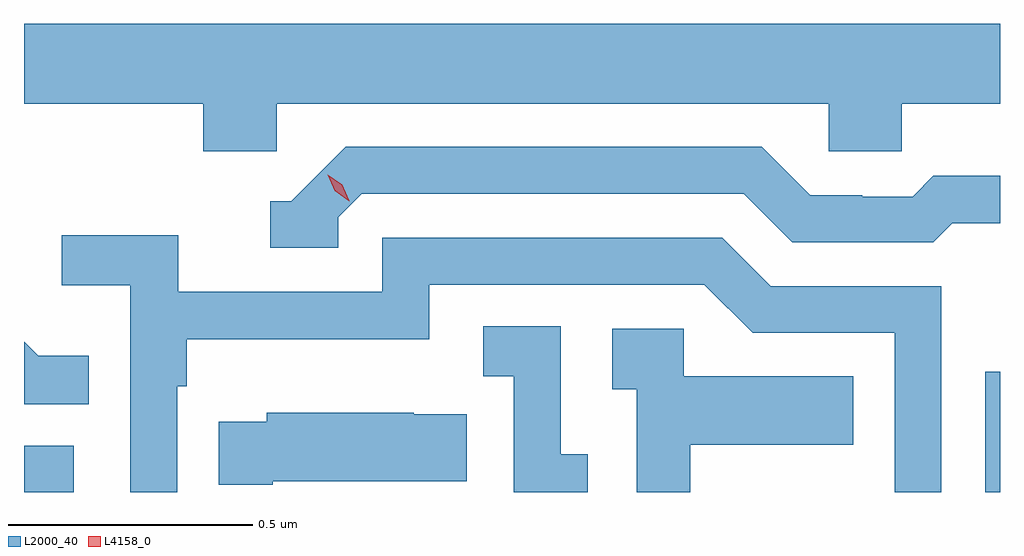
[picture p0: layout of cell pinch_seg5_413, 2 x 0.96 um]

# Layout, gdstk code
import gdstk
lib = gdstk.Library(unit=1e-6, precision=1e-09)
def R(c, l, rs):  # rectangles x0, y0, x1, y1
    for r in rs: c.add(gdstk.rectangle(r[:2], r[2:], *l))
def P(c, l, *ps):  # polygons
    for p in ps: c.add(gdstk.Polygon(p, *l))
L2000_40 = (2000, 40)
L4158_0 = (4158, 0)

pinch_seg5_413 = lib.new_cell('pinch_seg5_413')
R(pinch_seg5_413, L2000_40, [(957.034,867.951,957.136,868.047), (959.004,867.951,959.034,868.198)])
P(pinch_seg5_413, L2000_40, [(957.552,868.748),(958.683,868.748),(958.683,868.65),(958.833,868.65),(958.833,868.748),(959.034,868.748),(959.034,868.912),(957.034,868.912),(957.034,868.748),(957.401,868.748),(957.401,868.65),(957.552,868.65)],
  [(957.678,868.515),(957.726,868.563),(958.509,868.563),(958.608,868.464),(958.897,868.464),(958.936,868.503),(959.034,868.503),(959.034,868.6),(958.897,868.6),(958.855,868.557),(958.752,868.557),(958.752,868.56),(958.645,868.56),(958.546,868.659),(957.693,868.659),(957.582,868.548),(957.539,868.548),(957.539,868.452),(957.678,868.452)],
  [(957.348,868.169),(957.368,868.169),(957.368,868.265),(957.864,868.265),(957.864,868.377),(958.428,868.377),(958.527,868.278),(958.818,868.278),(958.818,867.951),(958.914,867.951),(958.914,868.374),(958.564,868.374),(958.465,868.473),(957.768,868.473),(957.768,868.362),(957.35,868.362),(957.35,868.478),(957.111,868.478),(957.111,868.376),(957.252,868.376),(957.252,867.951),(957.348,867.951)],
  [(958.189,868.029),(958.134,868.029),(958.134,868.292),(957.975,868.292),(957.975,868.189),(958.038,868.189),(958.038,867.951),(958.189,867.951)],
  [(958.399,868.049),(958.733,868.049),(958.733,868.189),(958.386,868.189),(958.386,868.287),(958.239,868.287),(958.239,868.163),(958.29,868.163),(958.29,867.951),(958.399,867.951)],
  [(957.167,868.231),(957.063,868.231),(957.034,868.26),(957.034,868.132),(957.167,868.132)],
  [(957.544,867.974),(957.941,867.974),(957.941,868.111),(957.833,868.111),(957.833,868.114),(957.531,868.114),(957.531,868.096),(957.433,868.096),(957.433,867.967),(957.544,867.967)])
P(pinch_seg5_413, L4158_0, [(957.701,868.548),(957.671,868.569),(957.656,868.602),(957.656,868.602),(957.656,868.602),(957.686,868.582),(957.701,868.549),(957.701,868.548)])

lib.write_gds('pinch_seg5_413.gds')
